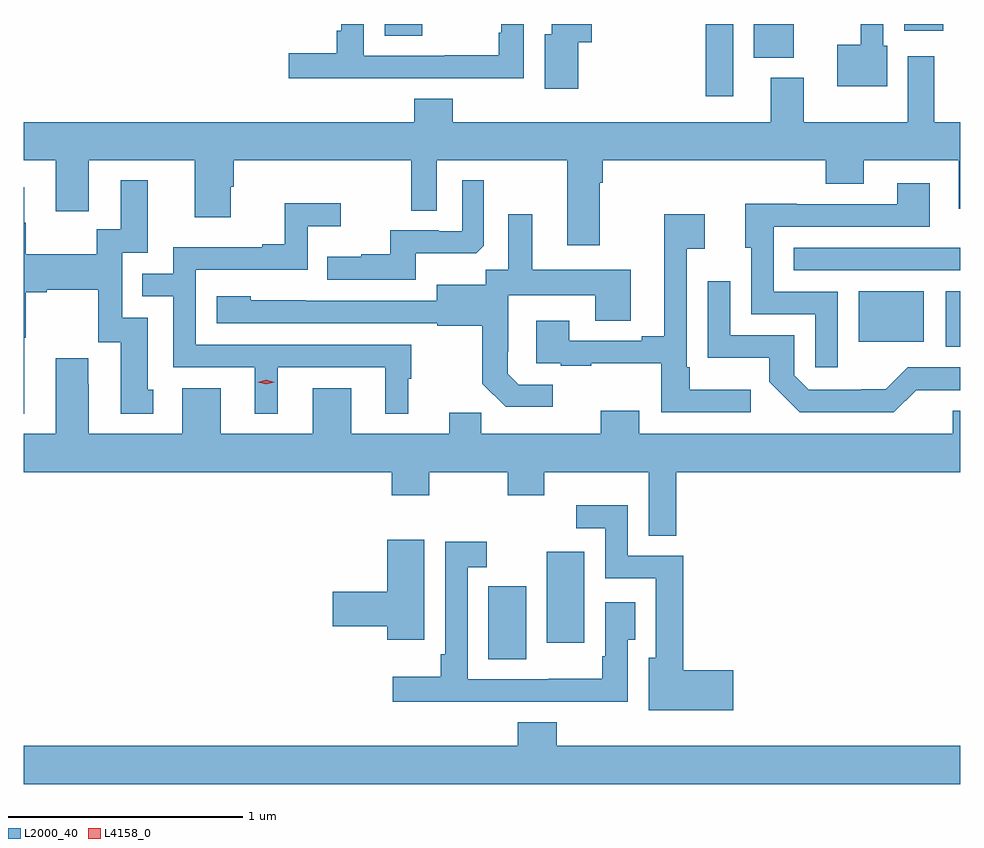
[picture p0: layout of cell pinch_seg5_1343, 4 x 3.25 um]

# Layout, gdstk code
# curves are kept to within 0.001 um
import gdstk
lib = gdstk.Library(unit=1e-6, precision=1e-09)
def R(c, l, rs):  # rectangles x0, y0, x1, y1
    for r in rs: c.add(gdstk.rectangle(r[:2], r[2:], *l))
def P(c, l, *ps):  # polygons
    for p in ps: c.add(gdstk.Polygon(p, *l))
L2000_40 = (2000, 40)
L4158_0 = (4158, 0)

pinch_seg5_1343 = lib.new_cell('pinch_seg5_1343')
R(pinch_seg5_1343, L2000_40, [(347.375,875.941,347.536,876.252), (347.624,876.011,347.785,876.4), (349.328,877.277,349.39,877.513), (348.956,877.298,349.234,877.513), (348.304,878.346,348.42,878.655), (348.509,878.51,348.679,878.655), (346.931,878.605,347.092,878.655), (349.151,878.627,349.318,878.655)])
P(pinch_seg5_1343, L2000_40, [(347.759,878.576),(347.816,878.576),(347.816,878.655),(347.645,878.655),(347.645,878.611),(347.615,878.611),(347.615,878.379),(347.759,878.379)],
  [(346.939,878.424),(347.305,878.424),(347.305,878.423),(347.526,878.423),(347.526,878.655),(347.43,878.655),(347.43,878.617),(347.418,878.617),(347.418,878.521),(347.188,878.521),(347.188,878.52),(346.842,878.52),(346.842,878.655),(346.746,878.655),(346.746,878.626),(346.726,878.626),(346.726,878.53),(346.521,878.53),(346.521,878.423),(346.939,878.423)],
  [(349.078,878.562),(349.062,878.562),(349.062,878.655),(348.966,878.655),(348.966,878.566),(348.866,878.566),(348.866,878.39),(349.078,878.39)],
  [(347.851,877.976),(347.864,877.976),(347.864,878.072),(348.815,878.072),(348.815,877.973),(348.979,877.973),(348.979,878.072),(349.385,878.072),(349.385,877.866),(349.39,877.866),(349.39,878.236),(349.279,878.236),(349.279,878.518),(349.166,878.518),(349.166,878.236),(348.721,878.236),(348.721,878.425),(348.581,878.425),(348.581,878.236),(347.222,878.236),(347.222,878.335),(347.057,878.335),(347.057,878.236),(345.39,878.236),(345.39,878.072),(345.527,878.072),(345.527,877.854),(345.667,877.854),(345.667,878.072),(346.121,878.072),(346.121,877.83),(346.273,877.83),(346.273,877.959),(346.286,877.959),(346.286,878.072),(347.046,878.072),(347.046,877.858),(347.154,877.858),(347.154,878.072),(347.711,878.072),(347.711,877.71),(347.851,877.71)],
  [(347.065,877.676),(347.323,877.676),(347.355,877.707),(347.355,877.987),(347.262,877.987),(347.262,877.77),(347.162,877.77),(347.162,877.773),(346.955,877.773),(346.955,877.672),(346.831,877.672),(346.831,877.66),(346.687,877.66),(346.687,877.563),(347.065,877.563)],
  [(345.391,877.315),(345.399,877.315),(345.399,877.508),(345.487,877.508),(345.487,877.52),(345.707,877.52),(345.707,877.296),(345.803,877.296),(345.803,876.99),(345.943,876.99),(345.943,877.092),(345.919,877.092),(345.919,877.401),(345.81,877.401),(345.81,877.677),(345.919,877.677),(345.919,877.987),(345.803,877.987),(345.803,877.778),(345.702,877.778),(345.702,877.672),(345.399,877.672),(345.399,877.806),(345.391,877.806),(345.391,877.957),(345.39,877.957),(345.39,876.989),(345.391,876.989)],
  [(348.867,877.512),(348.594,877.512),(348.594,877.788),(349.261,877.788),(349.261,877.975),(349.121,877.975),(349.121,877.884),(348.691,877.884),(348.691,877.886),(348.473,877.886),(348.473,877.698),(348.498,877.698),(348.498,877.416),(348.771,877.416),(348.771,877.188),(348.867,877.188)],
  [(346.474,877.188),(346.934,877.188),(346.934,876.989),(347.032,876.989),(347.032,877.14),(347.044,877.14),(347.044,877.284),(346.125,877.284),(346.125,877.605),(346.602,877.605),(346.602,877.79),(346.744,877.79),(346.744,877.889),(346.504,877.889),(346.504,877.714),(346.409,877.714),(346.409,877.701),(346.029,877.701),(346.029,877.587),(345.895,877.587),(345.895,877.491),(346.029,877.491),(346.029,877.188),(346.376,877.188),(346.376,876.989),(346.474,876.989)],
  [(348.496,877.093),(348.235,877.093),(348.235,877.189),(348.222,877.189),(348.222,877.694),(348.298,877.694),(348.298,877.843),(348.125,877.843),(348.125,877.321),(348.029,877.321),(348.029,877.302),(347.719,877.302),(347.719,877.387),(347.579,877.387),(347.579,877.206),(347.683,877.206),(347.683,877.194),(347.815,877.194),(347.815,877.205),(348.114,877.205),(348.114,876.996),(348.496,876.996)],
  [(347.65,877.113),(347.505,877.113),(347.458,877.16),(347.458,877.255),(347.46,877.255),(347.46,877.496),(347.831,877.496),(347.831,877.387),(347.983,877.387),(347.983,877.606),(347.563,877.606),(347.563,877.843),(347.459,877.843),(347.459,877.604),(347.364,877.604),(347.364,877.54),(347.153,877.54),(347.153,877.473),(346.359,877.474),(346.359,877.492),(346.215,877.492),(346.215,877.377),(347.157,877.377),(347.157,877.365),(347.349,877.365),(347.349,877.119),(347.449,877.019),(347.65,877.019)],
  [(349.39,877.699),(349.357,877.699),(349.357,877.698),(348.679,877.698),(348.679,877.602),(349.39,877.602)],
  [(349.202,877.091),(349.39,877.091),(349.39,877.188),(349.167,877.188),(349.073,877.094),(348.968,877.094),(348.968,877.092),(348.744,877.092),(348.681,877.155),(348.681,877.326),(348.408,877.326),(348.408,877.555),(348.312,877.555),(348.312,877.229),(348.574,877.229),(348.574,877.127),(348.704,876.996),(349.107,876.996)],
  [(347.855,877.003),(347.855,876.904),(347.345,876.904),(347.345,876.995),(347.207,876.995),(347.207,876.904),(346.789,876.904),(346.789,877.099),(346.625,877.099),(346.625,876.904),(346.231,876.904),(346.231,877.099),(346.067,877.099),(346.067,876.904),(345.667,876.904),(345.667,877.115),(345.664,877.115),(345.664,877.228),(345.527,877.228),(345.527,876.904),(345.39,876.904),(345.39,876.74),(346.961,876.74),(346.961,876.641),(347.121,876.641),(347.121,876.74),(347.458,876.74),(347.458,876.641),(347.613,876.641),(347.613,876.74),(348.059,876.74),(348.059,876.469),(348.178,876.469),(348.178,876.74),(349.39,876.74),(349.39,877.002),(349.358,877.002),(349.358,876.904),(348.019,876.904),(348.019,877.003)],
  [(348.421,875.894),(348.208,875.894),(348.208,876.384),(347.97,876.384),(347.97,876.598),(347.751,876.598),(347.751,876.501),(347.874,876.501),(347.874,876.288),(348.089,876.288),(348.089,875.947),(348.059,875.947),(348.059,875.723),(348.421,875.723)],
  [(347.101,876.451),(346.943,876.451),(346.943,876.23),(346.71,876.23),(346.71,876.083),(346.943,876.083),(346.943,876.024),(347.101,876.024)],
  [(347.383,875.76),(347.749,875.76),(347.749,875.759),(347.97,875.759),(347.97,876.025),(348.001,876.025),(348.001,876.184),(347.874,876.184),(347.874,875.953),(347.862,875.953),(347.862,875.857),(347.632,875.857),(347.632,875.856),(347.286,875.856),(347.286,876.333),(347.368,876.333),(347.368,876.442),(347.19,876.442),(347.19,875.962),(347.17,875.962),(347.17,875.866),(346.965,875.866),(346.965,875.759),(347.383,875.759)],
  [(349.39,875.572),(347.666,875.572),(347.666,875.671),(347.501,875.671),(347.501,875.572),(345.39,875.572),(345.39,875.408),(349.39,875.408)])
P(pinch_seg5_1343, L4158_0, [(346.425,877.115),(346.389,877.125),(346.389,877.125),(346.389,877.125),(346.425,877.135),(346.46,877.125),(346.461,877.125),(346.46,877.125)])

lib.write_gds('pinch_seg5_1343.gds')
